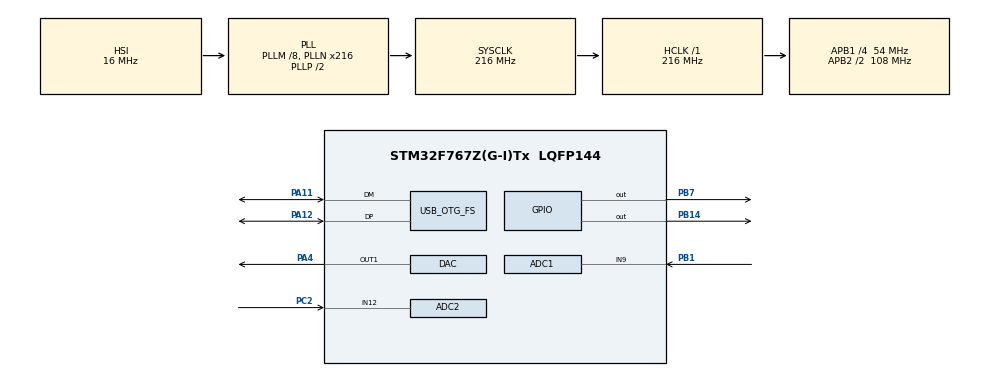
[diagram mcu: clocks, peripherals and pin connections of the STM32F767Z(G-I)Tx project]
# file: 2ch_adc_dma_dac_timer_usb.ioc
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ADC1.AutoInjectedConv=DISABLE
ADC1.Channel-0\#ChannelRegularConversion=ADC_CHANNEL_9
ADC1.ClockPrescaler=ADC_CLOCK_SYNC_PCLK_DIV4
ADC1.ContinuousConvMode=DISABLE
ADC1.DMAAccessMode=ADC_DMAACCESSMODE_2
ADC1.DMAContinuousRequests=ENABLE
ADC1.DataAlign=ADC_DATAALIGN_RIGHT
ADC1.DiscontinuousConvMode=DISABLE
ADC1.EOCSelection=ADC_EOC_SEQ_CONV
ADC1.EnableAnalogWatchDog=false
ADC1.ExternalTrigConv=ADC_EXTERNALTRIGCONV_T2_TRGO
ADC1.ExternalTrigConvEdge=ADC_EXTERNALTRIGCONVEDGE_RISING
ADC1.InjectedDiscontinuousConvMode=DISABLE
ADC1.Mode=ADC_DUALMODE_REGSIMULT
ADC1.NbrOfConversion=1
ADC1.NbrOfConversionFlag=1
ADC1.Rank-0\#ChannelRegularConversion=1
ADC1.Resolution=ADC_RESOLUTION_12B
ADC1.SamplingTime-0\#ChannelRegularConversion=ADC_SAMPLETIME_3CYCLES
ADC1.ScanConvMode=DISABLE
ADC1.master=1
ADC2.AutoInjectedConv=DISABLE
ADC2.Channel-4\#ChannelRegularConversion=ADC_CHANNEL_12
ADC2.ClockPrescaler=ADC_CLOCK_SYNC_PCLK_DIV4
ADC2.ContinuousConvMode=DISABLE
ADC2.DMAAccessMode=ADC_DMAACCESSMODE_2
ADC2.DMAContinuousRequests=ENABLE
ADC2.DataAlign=ADC_DATAALIGN_RIGHT
ADC2.DiscontinuousConvMode=DISABLE
ADC2.EOCSelection=ADC_EOC_SINGLE_CONV
ADC2.EnableAnalogWatchDog=false
ADC2.InjectedDiscontinuousConvMode=DISABLE
ADC2.Mode=ADC_DUALMODE_REGSIMULT
ADC2.NbrOfConversion=1
ADC2.NbrOfConversionFlag=1
ADC2.Rank-4\#ChannelRegularConversion=1
ADC2.Resolution=ADC_RESOLUTION_12B
ADC2.SamplingTime-4\#ChannelRegularConversion=ADC_SAMPLETIME_3CYCLES
ADC2.ScanConvMode=DISABLE
DAC.DAC_Channel=DAC_CHANNEL_1
DAC.DAC_OutputBuffer=DAC_OUTPUTBUFFER_ENABLE
DAC.WaveGeneration=DISABLE
Dma.ADC1.0.Direction=DMA_PERIPH_TO_MEMORY
Dma.ADC1.0.FIFOMode=DMA_FIFOMODE_DISABLE
Dma.ADC1.0.Instance=DMA2_Stream0
Dma.ADC1.0.MemDataAlignment=DMA_MDATAALIGN_WORD
Dma.ADC1.0.MemInc=DMA_MINC_ENABLE
Dma.ADC1.0.Mode=DMA_NORMAL
Dma.ADC1.0.PeriphDataAlignment=DMA_PDATAALIGN_WORD
Dma.ADC1.0.PeriphInc=DMA_PINC_DISABLE
Dma.ADC1.0.Priority=DMA_PRIORITY_LOW
Dma.Request0=ADC1
Mcu.Family=STM32F7
Mcu.Name=STM32F767Z(G-I)Tx
Mcu.Package=LQFP144
NVIC.DMA2_Stream0_IRQn=true\:0\:0\:false\:false\:true
NVIC.OTG_FS_IRQn=true\:0\:0\:false\:false\:true
NVIC.PriorityGroup=NVIC_PRIORITYGROUP_4
NVIC.TIM1_UP_TIM10_IRQn=true\:0\:0\:false\:false\:true
PA11.Mode=Device_Only
PA11.Signal=USB_OTG_FS_DM
PA12.Mode=Device_Only
PA12.Signal=USB_OTG_FS_DP
PA4.Signal=COMP_DAC1_group
PB1.Signal=ADCx_IN9
PB14.Signal=GPIO_Output
PB7.Signal=GPIO_Output
PC2.Signal=ADCx_IN12
PH0/OSC_IN.Mode=HSE-External-Clock-Source
PH0/OSC_IN.Signal=RCC_OSC_IN
PH1/OSC_OUT.Mode=HSE-External-Clock-Source
PH1/OSC_OUT.Signal=RCC_OSC_OUT
ProjectManager.HeapSize=0x200
ProjectManager.StackSize=0x400
ProjectManager.TargetToolchain=TrueSTUDIO
RCC.AHBCLKDivider=RCC_SYSCLK_DIV1
RCC.AHBFreq_Value=216000000
RCC.APB1CLKDivider=RCC_HCLK_DIV4
RCC.APB1Freq_Value=54000000
RCC.APB1TimFreq_Value=108000000
RCC.APB2CLKDivider=RCC_HCLK_DIV2
RCC.APB2Freq_Value=108000000
RCC.APB2TimFreq_Value=216000000
RCC.CECEnable=false
RCC.ClockTypeHCLK=RCC_CLOCKTYPE_HCLK
RCC.ClockTypePCLK1=RCC_CLOCKTYPE_PCLK1
RCC.ClockTypePCLK2=RCC_CLOCKTYPE_PCLK2
RCC.ClockTypeSysClk=RCC_CLOCKTYPE_SYSCLK
RCC.CortexFreq_Value=216000000
RCC.Cortex_Div=SYSTICK_CLKSOURCE_HCLK
RCC.EnableHSE=true
RCC.EnableHSERTCDevisor=false
RCC.EnableLSE=false
RCC.EnableLSERTC=false
RCC.EnbaleCSS=false
RCC.ExtClockEnable=false
RCC.HCLKFreq_Value=216000000
RCC.HSEState=RCC_HSE_BYPASS
RCC.HSE_VALUE=8000000
RCC.HSIState=RCC_HSI_ON
RCC.HSI_VALUE=16000000
RCC.I2C1Enable=false
RCC.I2C2Enable=false
RCC.I2C3Enable=false
RCC.I2C4Enable=false
RCC.I2SEnable=false
RCC.LCDEnable=false
RCC.LPTIM1Enable=false
RCC.LSE_VALUE=32768
RCC.LSIState=RCC_LSI_OFF
RCC.MCO1OutPutEnable=false
RCC.MCO2I2SEnable=false
RCC.MCO2OutPutEnable=false
RCC.OscillatorTypeHSI=RCC_OSCILLATORTYPE_HSI
RCC.PLL48CLockSelection=RCC_CLK48SOURCE_PLL
RCC.PLLI2SP=RCC_PLLP_DIV2
RCC.PLLM=8
RCC.PLLN=216
RCC.PLLP=RCC_PLLP_DIV2
RCC.PLLQ=9
RCC.PLLSAIP=RCC_PLLSAIP_DIV2
RCC.PLLSAIRDiv=RCC_PLLSAIDIVR_2
RCC.PLLSourceVirtual=RCC_PLLSOURCE_HSE
RCC.PLLSourceVirtualString=RCC_PLLSOURCE_HSI
RCC.PLLState=RCC_PLL_ON
RCC.RCC_MCODiv1=RCC_MCODIV_1
RCC.RCC_MCODiv2=RCC_MCODIV_1
RCC.RCC_PERIPHCLK_USBVar=RCC_PERIPHCLK_CLK48
RCC.RCC_RTC_Clock_Source_FROM_HSE=RCC_RTCCLKSOURCE_HSE_DIV2
RCC.RTCEnable=false
RCC.SAI1Enable=false
RCC.SAI2Enable=false
RCC.SDMMC1Enable=false
RCC.SPDIFEnable=false
RCC.SYSCLKFreq_VALUE=216000000
RCC.SYSCLKSource=RCC_SYSCLKSOURCE_PLLCLK
RCC.UART4Enable=false
RCC.UART5Enable=false
RCC.UART7Enable=false
RCC.UART8Enable=false
RCC.USART1Enable=false
RCC.USART2Enable=false
RCC.USART3Enable=false
RCC.USART6Enable=false
RCC.USBEnable=true
RCC.USBFreq_Value=48000000
RCC.VCOOutputFreq_Value=432000000
SH.ADCx_IN12.0=ADC2_IN12,IN12
SH.ADCx_IN9.0=ADC1_IN9,IN9
SH.COMP_DAC1_group.0=DAC_OUT1,DAC_OUT1
TIM1.Period=1
TIM1.Prescaler=215
TIM1.TIM_MasterOutputTrigger=TIM_TRGO_RESET
TIM1.TIM_MasterSlaveMode=TIM_MASTERSLAVEMODE_DISABLE
TIM2.Period=1
TIM2.Prescaler=215
TIM2.TIM_MasterOutputTrigger=TIM_TRGO_UPDATE
TIM2.TIM_MasterSlaveMode=TIM_MASTERSLAVEMODE_DISABLE
USB_DEVICE.CLASS_NAME_FS=CDC
USB_DEVICE.USBD_HandleTypeDef_FS=hUsbDevice_OTG_FS
USB_DEVICE.VirtualModeFS=Cdc_FS
USB_OTG_FS.VirtualMode=Device_Only
USB_OTG_FS.dev_endpoints=6
USB_OTG_FS.phy_itface=PCD_PHY_EMBEDDED
USB_OTG_FS.vbus_sensing_enable=DISABLE
VP_TIM1_VS_ClockSourceINT.Mode=Internal
VP_TIM2_VS_ClockSourceINT.Mode=Internal
VP_USB_DEVICE_VS_USB_DEVICE_CDC_FS.Mode=CDC_FS
board=2ch_adc_dma_dac_timer_usb

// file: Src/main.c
/**
  ******************************************************************************
  * File Name          : main.c
  * Description        : Main program body
  ******************************************************************************
  *
  * Copyright (c) 2017 STMicroelectronics International N.V.
  * All rights reserved.
  *
  * Redistribution and use in source and binary forms, with or without
  * modification, are permitted, provided that the following conditions are met:
  *
  * 1. Redistribution of source code must retain the above copyright notice,
  *    this list of conditions and the following disclaimer.
  * 2. Redistributions in binary form must reproduce the above copyright notice,
  *    this list of conditions and the following disclaimer in the documentation
  *    and/or other materials provided with the distribution.
  * 3. Neither the name of STMicroelectronics nor the names of other
  *    contributors to this software may be used to endorse or promote products
  *    derived from this software without specific written permission.
  * 4. This software, including modifications and/or derivative works of this
  *    software, must execute solely and exclusively on microcontroller or
  *    microprocessor devices manufactured by or for STMicroelectronics.
  * 5. Redistribution and use of this software other than as permitted under
  *    this license is void and will automatically terminate your rights under
  *    this license.
  *
  * THIS SOFTWARE IS PROVIDED BY STMICROELECTRONICS AND CONTRIBUTORS "AS IS"
  * AND ANY EXPRESS, IMPLIED OR STATUTORY WARRANTIES, INCLUDING, BUT NOT
  * LIMITED TO, THE IMPLIED WARRANTIES OF MERCHANTABILITY, FITNESS FOR A
  * PARTICULAR PURPOSE AND NON-INFRINGEMENT OF THIRD PARTY INTELLECTUAL PROPERTY
  * RIGHTS ARE DISCLAIMED TO THE FULLEST EXTENT PERMITTED BY LAW. IN NO EVENT
  * SHALL STMICROELECTRONICS OR CONTRIBUTORS BE LIABLE FOR ANY DIRECT, INDIRECT,
  * INCIDENTAL, SPECIAL, EXEMPLARY, OR CONSEQUENTIAL DAMAGES (INCLUDING, BUT NOT
  * LIMITED TO, PROCUREMENT OF SUBSTITUTE GOODS OR SERVICES; LOSS OF USE, DATA,
  * OR PROFITS; OR BUSINESS INTERRUPTION) HOWEVER CAUSED AND ON ANY THEORY OF
  * LIABILITY, WHETHER IN CONTRACT, STRICT LIABILITY, OR TORT (INCLUDING
  * NEGLIGENCE OR OTHERWISE) ARISING IN ANY WAY OUT OF THE USE OF THIS SOFTWARE,
  * EVEN IF ADVISED OF THE POSSIBILITY OF SUCH DAMAGE.
  *
  ******************************************************************************
  */
#include "main.h"
#include "stm32f7xx_hal.h"
#include "usb_device.h"

/* USER CODE BEGIN Includes */
#include "math.h"
#include "string.h"
#include "usbd_cdc_if.h"
/* USER CODE END Includes */

ADC_HandleTypeDef hadc1;
ADC_HandleTypeDef hadc2;
DMA_HandleTypeDef hdma_adc1;

DAC_HandleTypeDef hdac;

TIM_HandleTypeDef htim1;
TIM_HandleTypeDef htim2;

/* USER CODE BEGIN PV */
/* Private variables ---------------------------------------------------------*/

/* USER CODE END PV */

void SystemClock_Config(void);
void Error_Handler(void);
static void MX_GPIO_Init(void);
static void MX_DMA_Init(void);
static void MX_DAC_Init(void);
static void MX_TIM1_Init(void);
static void MX_ADC1_Init(void);
static void MX_ADC2_Init(void);
static void MX_TIM2_Init(void);

/* USER CODE BEGIN PFP */
/* Private function prototypes -----------------------------------------------*/

/* USER CODE END PFP */

/* USER CODE BEGIN 0 */
//the phase is represented as a fixed point value
//where low 16 bits are considered as a fractional part, and high 16 bits as a integer part
#define STOPPED 0
#define STARTED 1

static int state = STOPPED;

// macro for conversion a fixed point value to an integer value. The value 0x8000 is added for rounding
#define FIXED_TO_INT(x) ((x) >> 16)
#define INT_TO_FIXED(x) ((x) << 16)

volatile uint32_t * dac;
// the period of a sine signal is 4N points
//#define N 3216
#define N 2500
#define DAC_SHIFT 2047
static uint16_t cosine[N + 1];
//const uint32_t delta = 0x3333; // 0.2 -10 Hz
//const uint32_t delta = 0x20000; // 2 -100 Hz
//const uint32_t delta = 0x140000; // 20 -1 kHz
const uint32_t delta = 0xc80000; // 200 -10 kHz
//const uint32_t delta = 0x7d00000; // 2000 -100 kHz

#define VCP_BUF_SIZE 128
static uint32_t vcp_buf[VCP_BUF_SIZE];

#define ADC_BUF_SIZE 512
static uint32_t adc_buf[ADC_BUF_SIZE];

void HAL_TIM_PeriodElapsedCallback(TIM_HandleTypeDef *htim)
{
  static int val = 0;
  static uint32_t phase = 0;
  *(uint32_t*)(DAC_BASE + 0x00000008U) = val;
  phase += delta;
  phase = phase > INT_TO_FIXED(N * 4) - 1 ? phase - INT_TO_FIXED(N * 4): phase;
  uint32_t intphase = FIXED_TO_INT(phase);
  if(intphase < N) {
    val = DAC_SHIFT + cosine[intphase];
  }
  else if(intphase < (2 * N)) {
    val = DAC_SHIFT - cosine[2 * N - intphase];
  }
  else if(intphase < (3 * N)) {
    val = DAC_SHIFT - cosine[intphase - 2 * N];
  }
  else {
    val = DAC_SHIFT + cosine[4 * N - intphase];
  }
}

void CDCReceiveCallback(uint8_t* Buf, uint32_t Len)
{
	//if we receive "1", start data transfer, otherwise stop.
	if(Len > 0)
	{
		if(Buf[0] == '1')
		{
			HAL_GPIO_WritePin(GPIOB, GPIO_PIN_7, 1);
			state = STARTED;
		}
		else
		{
			HAL_GPIO_WritePin(GPIOB, GPIO_PIN_7, 0);
			state = STOPPED;
		}

	}
}

void HAL_ADC_ConvCpltCallback(ADC_HandleTypeDef* hadc)
{
	HAL_TIM_Base_Stop(&htim2);
	HAL_ADC_Stop(&hadc2);
	HAL_ADCEx_MultiModeStop_DMA(&hadc1);

	const int threshold = (1 << 11);
	//find a trigger condition
	if(state == STARTED)
	{
		HAL_GPIO_WritePin(GPIOB, GPIO_PIN_7, 1);
		for(int i = 0; i < (ADC_BUF_SIZE - VCP_BUF_SIZE); i++)
		{
			uint32_t sample0_0 = adc_buf[i] & 0x00000FFF;
			uint32_t sample0_1 = adc_buf[i + 1] & 0x00000FFF;
			if(sample0_0 < threshold && sample0_1 >= threshold) //the trigger condition
			{
				memcpy(vcp_buf, adc_buf + i + 1, VCP_BUF_SIZE * sizeof(uint32_t));
				vcp_buf[0] |= 0x80000000;  //mark the first sample in the frame
				CDC_Transmit_FS((uint8_t*)vcp_buf, VCP_BUF_SIZE * sizeof(uint32_t));
			}
		}
		HAL_GPIO_WritePin(GPIOB, GPIO_PIN_7, 0);
	}

	//restart adc
	  HAL_ADC_Start(&hadc2);
	  HAL_ADCEx_MultiModeStart_DMA(&hadc1, (uint32_t*)adc_buf, ADC_BUF_SIZE);
	  HAL_TIM_Base_Start_IT(&htim2);
	  //led flashing
	  static int cnt = 0;
	  if((cnt++) % 128 == 0)
	  {
		  HAL_GPIO_TogglePin(GPIOB, GPIO_PIN_14); //Toggle the state of pin
	  }
}
/* USER CODE END 0 */

int main(void)
{

  /* MCU Configuration----------------------------------------------------------*/

  /* Reset of all peripherals, Initializes the Flash interface and the Systick. */
  HAL_Init();

  /* Configure the system clock */
  SystemClock_Config();

  /* Initialize all configured peripherals */
  MX_GPIO_Init();
  MX_DMA_Init();
  MX_DAC_Init();
  MX_TIM1_Init();
  MX_ADC1_Init();
  MX_ADC2_Init();
  MX_TIM2_Init();
  MX_USB_DEVICE_Init();

  /* USER CODE BEGIN 2 */
  // turn off led
  HAL_GPIO_WritePin(GPIOB, GPIO_PIN_14, 0);
  //start dac
  const float A = 2047;
  const float PI = 3.1415927;
  for(int i = 0; i < N + 1; i++) {
    cosine[i] = (uint16_t)(round(A * cos((i * PI) / ((N + 1) * 2.0))));
  }
  __HAL_DAC_ENABLE(&hdac, DAC_CHANNEL_1);
  HAL_TIM_Base_Start_IT(&htim1);
  //start adc
  HAL_ADC_Start(&hadc2);
  HAL_ADCEx_MultiModeStart_DMA(&hadc1, (uint32_t *)adc_buf, ADC_BUF_SIZE);
  HAL_TIM_Base_Start_IT(&htim2);
  /* USER CODE END 2 */

  /* Infinite loop */
  while (1)
  {

  }

}

/** System Clock Configuration
*/
void SystemClock_Config(void)
{

  RCC_OscInitTypeDef RCC_OscInitStruct;
  RCC_ClkInitTypeDef RCC_ClkInitStruct;
  RCC_PeriphCLKInitTypeDef PeriphClkInitStruct;

    /**Configure the main internal regulator output voltage
    */
  __HAL_RCC_PWR_CLK_ENABLE();

  __HAL_PWR_VOLTAGESCALING_CONFIG(PWR_REGULATOR_VOLTAGE_SCALE1);

    /**Initializes the CPU, AHB and APB busses clocks
    */
  RCC_OscInitStruct.OscillatorType = RCC_OSCILLATORTYPE_HSI;
  RCC_OscInitStruct.HSIState = RCC_HSI_ON;
  RCC_OscInitStruct.HSICalibrationValue = 16;
  RCC_OscInitStruct.PLL.PLLState = RCC_PLL_ON;
  RCC_OscInitStruct.PLL.PLLSource = RCC_PLLSOURCE_HSI;
  RCC_OscInitStruct.PLL.PLLM = 8;
  RCC_OscInitStruct.PLL.PLLN = 216;
  RCC_OscInitStruct.PLL.PLLP = RCC_PLLP_DIV2;
  RCC_OscInitStruct.PLL.PLLQ = 9;
  if (HAL_RCC_OscConfig(&RCC_OscInitStruct) != HAL_OK)
  {
    Error_Handler();
  }

    /**Activate the Over-Drive mode
    */
  if (HAL_PWREx_EnableOverDrive() != HAL_OK)
  {
    Error_Handler();
  }

    /**Initializes the CPU, AHB and APB busses clocks
    */
  RCC_ClkInitStruct.ClockType = RCC_CLOCKTYPE_HCLK|RCC_CLOCKTYPE_SYSCLK
                              |RCC_CLOCKTYPE_PCLK1|RCC_CLOCKTYPE_PCLK2;
  RCC_ClkInitStruct.SYSCLKSource = RCC_SYSCLKSOURCE_PLLCLK;
  RCC_ClkInitStruct.AHBCLKDivider = RCC_SYSCLK_DIV1;
  RCC_ClkInitStruct.APB1CLKDivider = RCC_HCLK_DIV4;
  RCC_ClkInitStruct.APB2CLKDivider = RCC_HCLK_DIV2;

  if (HAL_RCC_ClockConfig(&RCC_ClkInitStruct, FLASH_LATENCY_7) != HAL_OK)
  {
    Error_Handler();
  }

  PeriphClkInitStruct.PeriphClockSelection = RCC_PERIPHCLK_CLK48;
  PeriphClkInitStruct.Clk48ClockSelection = RCC_CLK48SOURCE_PLL;
  if (HAL_RCCEx_PeriphCLKConfig(&PeriphClkInitStruct) != HAL_OK)
  {
    Error_Handler();
  }

    /**Configure the Systick interrupt time
    */
  HAL_SYSTICK_Config(HAL_RCC_GetHCLKFreq()/1000);

    /**Configure the Systick
    */
  HAL_SYSTICK_CLKSourceConfig(SYSTICK_CLKSOURCE_HCLK);

  /* SysTick_IRQn interrupt configuration */
  HAL_NVIC_SetPriority(SysTick_IRQn, 1, 0);
}

/* ADC1 init function */
static void MX_ADC1_Init(void)
{

  ADC_MultiModeTypeDef multimode;
  ADC_ChannelConfTypeDef sConfig;

    /**Configure the global features of the ADC (Clock, Resolution, Data Alignment and number of conversion)
    */
  hadc1.Instance = ADC1;
  hadc1.Init.ClockPrescaler = ADC_CLOCK_SYNC_PCLK_DIV4;
  hadc1.Init.Resolution = ADC_RESOLUTION_12B;
  hadc1.Init.ScanConvMode = DISABLE;
  hadc1.Init.ContinuousConvMode = DISABLE;
  hadc1.Init.DiscontinuousConvMode = DISABLE;
  hadc1.Init.ExternalTrigConvEdge = ADC_EXTERNALTRIGCONVEDGE_RISING;
  hadc1.Init.ExternalTrigConv = ADC_EXTERNALTRIGCONV_T2_TRGO;
  hadc1.Init.DataAlign = ADC_DATAALIGN_RIGHT;
  hadc1.Init.NbrOfConversion = 1;
  hadc1.Init.DMAContinuousRequests = ENABLE;
  hadc1.Init.EOCSelection = ADC_EOC_SEQ_CONV;
  if (HAL_ADC_Init(&hadc1) != HAL_OK)
  {
    Error_Handler();
  }

    /**Configure the ADC multi-mode
    */
  multimode.Mode = ADC_DUALMODE_REGSIMULT;
  multimode.DMAAccessMode = ADC_DMAACCESSMODE_2;
  multimode.TwoSamplingDelay = ADC_TWOSAMPLINGDELAY_5CYCLES;
  if (HAL_ADCEx_MultiModeConfigChannel(&hadc1, &multimode) != HAL_OK)
  {
    Error_Handler();
  }

    /**Configure for the selected ADC regular channel its corresponding rank in the sequencer and its sample time.
    */
  sConfig.Channel = ADC_CHANNEL_9;
  sConfig.Rank = 1;
  sConfig.SamplingTime = ADC_SAMPLETIME_3CYCLES;
  if (HAL_ADC_ConfigChannel(&hadc1, &sConfig) != HAL_OK)
  {
    Error_Handler();
  }

}

/* ADC2 init function */
static void MX_ADC2_Init(void)
{

  ADC_ChannelConfTypeDef sConfig;

    /**Configure the global features of the ADC (Clock, Resolution, Data Alignment and number of conversion)
    */
  hadc2.Instance = ADC2;
  hadc2.Init.ClockPrescaler = ADC_CLOCK_SYNC_PCLK_DIV4;
  hadc2.Init.Resolution = ADC_RESOLUTION_12B;
  hadc2.Init.ScanConvMode = DISABLE;
  hadc2.Init.ContinuousConvMode = DISABLE;
  hadc2.Init.DiscontinuousConvMode = DISABLE;
  hadc2.Init.DataAlign = ADC_DATAALIGN_RIGHT;
  hadc2.Init.NbrOfConversion = 1;
  hadc2.Init.DMAContinuousRequests = ENABLE;
  hadc2.Init.EOCSelection = ADC_EOC_SINGLE_CONV;
  if (HAL_ADC_Init(&hadc2) != HAL_OK)
  {
    Error_Handler();
  }

    /**Configure for the selected ADC regular channel its corresponding rank in the sequencer and its sample time.
    */
  sConfig.Channel = ADC_CHANNEL_12;
  sConfig.Rank = 1;
  sConfig.SamplingTime = ADC_SAMPLETIME_3CYCLES;
  if (HAL_ADC_ConfigChannel(&hadc2, &sConfig) != HAL_OK)
  {
    Error_Handler();
  }

}

/* DAC init function */
static void MX_DAC_Init(void)
{

  DAC_ChannelConfTypeDef sConfig;

    /**DAC Initialization
    */
  hdac.Instance = DAC;
  if (HAL_DAC_Init(&hdac) != HAL_OK)
  {
    Error_Handler();
  }

    /**DAC channel OUT1 config
    */
  sConfig.DAC_Trigger = DAC_TRIGGER_NONE;
  sConfig.DAC_OutputBuffer = DAC_OUTPUTBUFFER_ENABLE;
  if (HAL_DAC_ConfigChannel(&hdac, &sConfig, DAC_CHANNEL_1) != HAL_OK)
  {
    Error_Handler();
  }

}

/* TIM1 init function */
static void MX_TIM1_Init(void)
{

  TIM_ClockConfigTypeDef sClockSourceConfig;
  TIM_MasterConfigTypeDef sMasterConfig;

  htim1.Instance = TIM1;
  htim1.Init.Prescaler = 215;
  htim1.Init.CounterMode = TIM_COUNTERMODE_UP;
  htim1.Init.Period = 1;
  htim1.Init.ClockDivision = TIM_CLOCKDIVISION_DIV1;
  htim1.Init.RepetitionCounter = 0;
  htim1.Init.AutoReloadPreload = TIM_AUTORELOAD_PRELOAD_DISABLE;
  if (HAL_TIM_Base_Init(&htim1) != HAL_OK)
  {
    Error_Handler();
  }

  sClockSourceConfig.ClockSource = TIM_CLOCKSOURCE_INTERNAL;
  if (HAL_TIM_ConfigClockSource(&htim1, &sClockSourceConfig) != HAL_OK)
  {
    Error_Handler();
  }

  sMasterConfig.MasterOutputTrigger = TIM_TRGO_RESET;
  sMasterConfig.MasterOutputTrigger2 = TIM_TRGO2_RESET;
  sMasterConfig.MasterSlaveMode = TIM_MASTERSLAVEMODE_DISABLE;
  if (HAL_TIMEx_MasterConfigSynchronization(&htim1, &sMasterConfig) != HAL_OK)
  {
    Error_Handler();
  }

}

/* TIM2 init function */
static void MX_TIM2_Init(void)
{

  TIM_ClockConfigTypeDef sClockSourceConfig;
  TIM_MasterConfigTypeDef sMasterConfig;

  htim2.Instance = TIM2;
  htim2.Init.Prescaler = 215;
  htim2.Init.CounterMode = TIM_COUNTERMODE_UP;
  htim2.Init.Period = 1;
  htim2.Init.ClockDivision = TIM_CLOCKDIVISION_DIV1;
  htim2.Init.AutoReloadPreload = TIM_AUTORELOAD_PRELOAD_DISABLE;
  if (HAL_TIM_Base_Init(&htim2) != HAL_OK)
  {
    Error_Handler();
  }

  sClockSourceConfig.ClockSource = TIM_CLOCKSOURCE_INTERNAL;
  if (HAL_TIM_ConfigClockSource(&htim2, &sClockSourceConfig) != HAL_OK)
  {
    Error_Handler();
  }

  sMasterConfig.MasterOutputTrigger = TIM_TRGO_UPDATE;
  sMasterConfig.MasterSlaveMode = TIM_MASTERSLAVEMODE_DISABLE;
  if (HAL_TIMEx_MasterConfigSynchronization(&htim2, &sMasterConfig) != HAL_OK)
  {
    Error_Handler();
  }

}

static void MX_DMA_Init(void)
{
  /* DMA controller clock enable */
  __HAL_RCC_DMA2_CLK_ENABLE();

  /* DMA interrupt init */
  /* DMA2_Stream0_IRQn interrupt configuration */
  HAL_NVIC_SetPriority(DMA2_Stream0_IRQn, 0, 0);
  HAL_NVIC_EnableIRQ(DMA2_Stream0_IRQn);

}

/** Configure pins as
        * Analog
        * Input
        * Output
        * EVENT_OUT
        * EXTI
*/
static void MX_GPIO_Init(void)
{

  GPIO_InitTypeDef GPIO_InitStruct;

  /* GPIO Ports Clock Enable */
  __HAL_RCC_GPIOH_CLK_ENABLE();
  __HAL_RCC_GPIOC_CLK_ENABLE();
  __HAL_RCC_GPIOA_CLK_ENABLE();
  __HAL_RCC_GPIOB_CLK_ENABLE();

  /*Configure GPIO pin Output Level */
  HAL_GPIO_WritePin(GPIOB, GPIO_PIN_14|GPIO_PIN_7, GPIO_PIN_RESET);

  /*Configure GPIO pins : PB14 PB7 */
  GPIO_InitStruct.Pin = GPIO_PIN_14|GPIO_PIN_7;
  GPIO_InitStruct.Mode = GPIO_MODE_OUTPUT_PP;
  GPIO_InitStruct.Pull = GPIO_NOPULL;
  GPIO_InitStruct.Speed = GPIO_SPEED_FREQ_LOW;
  HAL_GPIO_Init(GPIOB, &GPIO_InitStruct);

}

void Error_Handler(void)
{
  while(1)
  {
  }
}

/************************ (C) COPYRIGHT STMicroelectronics *****END OF FILE****/
